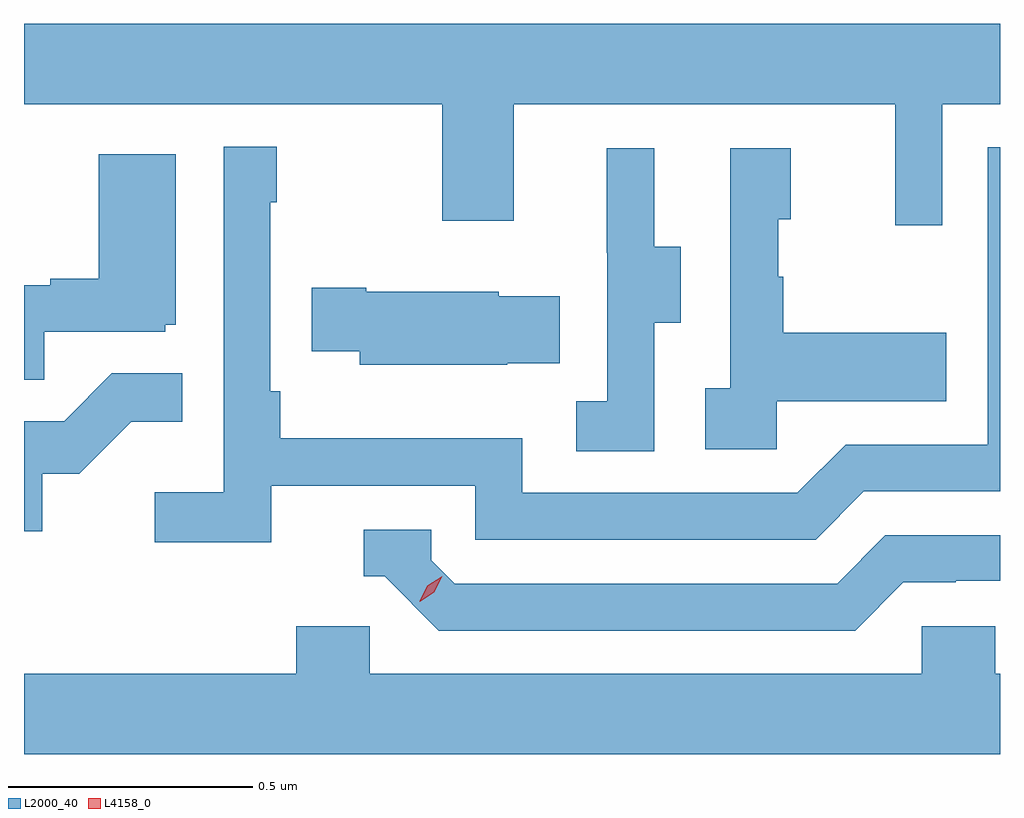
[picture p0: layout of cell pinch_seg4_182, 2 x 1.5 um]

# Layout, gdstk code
import gdstk
lib = gdstk.Library(unit=1e-6, precision=1e-09)
def P(c, l, *ps):  # polygons
    for p in ps: c.add(gdstk.Polygon(p, *l))
L2000_40 = (2000, 40)
L4158_0 = (4158, 0)

pinch_seg4_182 = lib.new_cell('pinch_seg4_182')
P(pinch_seg4_182, L2000_40, [(1114.347,800.816),(1114.465,800.816),(1114.465,800.98),(1112.465,800.98),(1112.465,800.816),(1113.322,800.816),(1113.322,800.577),(1113.469,800.577),(1113.469,800.816),(1114.25,800.816),(1114.25,800.568),(1114.347,800.568)],
  [(1112.972,800.034),(1113.39,800.034),(1113.39,799.923),(1114.087,799.923),(1114.186,800.022),(1114.465,800.022),(1114.465,800.727),(1114.44,800.727),(1114.44,800.118),(1114.149,800.118),(1114.05,800.019),(1113.486,800.019),(1113.486,800.131),(1112.99,800.131),(1112.99,800.227),(1112.97,800.227),(1112.97,800.615),(1112.983,800.615),(1112.983,800.728),(1112.874,800.728),(1112.874,800.02),(1112.733,800.02),(1112.733,799.918),(1112.972,799.918)],
  [(1113.756,800.368),(1113.811,800.368),(1113.811,800.523),(1113.757,800.523),(1113.757,800.725),(1113.659,800.725),(1113.659,800.511),(1113.66,800.511),(1113.66,800.207),(1113.597,800.207),(1113.597,800.104),(1113.756,800.104)],
  [(1114.008,800.207),(1114.355,800.207),(1114.355,800.347),(1114.021,800.347),(1114.021,800.462),(1114.011,800.462),(1114.011,800.58),(1114.036,800.58),(1114.036,800.725),(1113.912,800.725),(1113.912,800.234),(1113.861,800.234),(1113.861,800.109),(1114.008,800.109)],
  [(1112.507,800.349),(1112.754,800.349),(1112.754,800.364),(1112.776,800.364),(1112.776,800.713),(1112.618,800.713),(1112.618,800.458),(1112.519,800.458),(1112.519,800.445),(1112.465,800.445),(1112.465,800.251),(1112.507,800.251)],
  [(1113.455,800.285),(1113.563,800.285),(1113.563,800.422),(1113.438,800.422),(1113.438,800.431),(1113.166,800.431),(1113.166,800.439),(1113.055,800.439),(1113.055,800.309),(1113.153,800.309),(1113.153,800.282),(1113.455,800.282)],
  [(1112.502,800.058),(1112.578,800.058),(1112.685,800.165),(1112.789,800.165),(1112.789,800.264),(1112.645,800.264),(1112.547,800.166),(1112.465,800.166),(1112.465,799.941),(1112.502,799.941)],
  [(1114.267,799.836),(1114.374,799.836),(1114.374,799.839),(1114.465,799.839),(1114.465,799.932),(1114.23,799.932),(1114.131,799.833),(1113.348,799.833),(1113.3,799.881),(1113.3,799.944),(1113.161,799.944),(1113.161,799.848),(1113.204,799.848),(1113.315,799.737),(1114.168,799.737)],
  [(1114.465,799.648),(1114.455,799.648),(1114.455,799.746),(1114.305,799.746),(1114.305,799.648),(1113.174,799.648),(1113.174,799.746),(1113.023,799.746),(1113.023,799.648),(1112.465,799.648),(1112.465,799.484),(1114.465,799.484)])
P(pinch_seg4_182, L4158_0, [(1113.276,799.796),(1113.276,799.797),(1113.291,799.829),(1113.322,799.848),(1113.322,799.848),(1113.322,799.848),(1113.306,799.816),(1113.276,799.796)])

lib.write_gds('pinch_seg4_182.gds')
